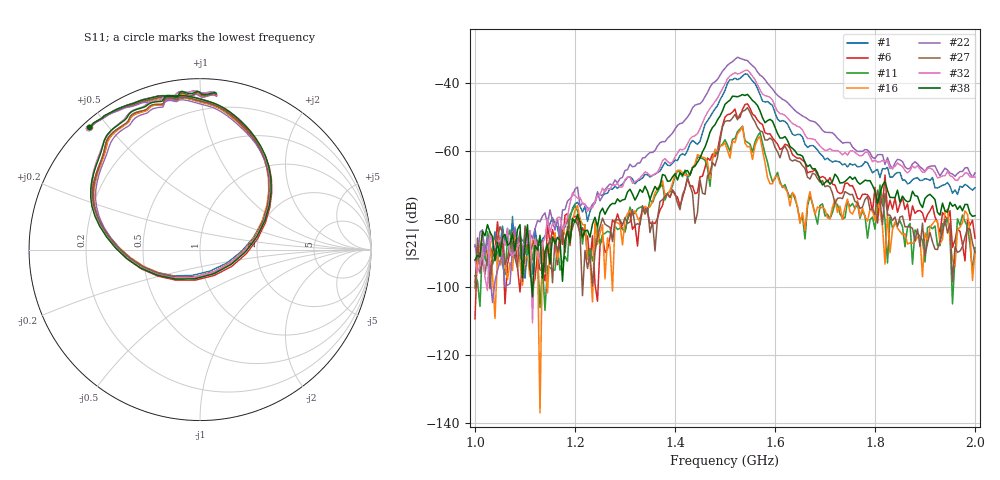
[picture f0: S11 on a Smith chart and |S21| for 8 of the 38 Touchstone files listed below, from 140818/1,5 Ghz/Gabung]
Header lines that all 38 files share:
# Hz S RI R 50
! CMT, C1220, 16058040, 17.2.0/1
! Data: Format (Calibration Info)
! Freq  S11: Re/Im (F2)  S21: Re/Im (F2)  S12: Re/Im (F2)  S22: Re/Im (F2)
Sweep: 1 GHz to 2 GHz
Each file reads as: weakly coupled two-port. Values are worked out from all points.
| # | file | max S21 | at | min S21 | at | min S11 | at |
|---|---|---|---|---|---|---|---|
| 1 | Sudut_280_Titik_8.s2p | -37.32 dB | 1.54 GHz | -97.5 dB | 1.1 GHz | -17.1 dB | 1.53 GHz |
| 2 | Sudut_280_Titik_9.s2p | -34.63 dB | 1.54 GHz | -104.0 dB | 1.06 GHz | -16.7 dB | 1.53 GHz |
| 3 | Sudut_290_Titik_1.s2p | -32.69 dB | 1.525 GHz | -99.3 dB | 1.015 GHz | -16.0 dB | 1.53 GHz |
| 4 | Sudut_290_Titik_3.s2p | -42.45 dB | 1.525 GHz | -114.2 dB | 1.105 GHz | -15.8 dB | 1.53 GHz |
| 5 | Sudut_290_Titik_5.s2p | -52.42 dB | 1.535 GHz | -113.8 dB | 1.01 GHz | -15.7 dB | 1.53 GHz |
| 6 | Sudut_290_Titik_6.s2p | -46.11 dB | 1.545 GHz | -109.4 dB | 1 GHz | -15.2 dB | 1.53 GHz |
| 7 | Sudut_290_Titik_7.s2p | -42.74 dB | 1.545 GHz | -103.7 dB | 1.165 GHz | -15.8 dB | 1.53 GHz |
| 8 | Sudut_300_Titik_1.s2p | -32.76 dB | 1.525 GHz | -104.0 dB | 1.035 GHz | -16.1 dB | 1.53 GHz |
| 9 | Sudut_300_Titik_2.s2p | -36.99 dB | 1.525 GHz | -99.6 dB | 1.075 GHz | -16.6 dB | 1.53 GHz |
| 10 | Sudut_300_Titik_3.s2p | -42.15 dB | 1.52 GHz | -105.7 dB | 1 GHz | -15.7 dB | 1.53 GHz |
| 11 | Sudut_300_Titik_5.s2p | -52.74 dB | 1.535 GHz | -106.9 dB | 1.14 GHz | -15.9 dB | 1.53 GHz |
| 12 | Sudut_300_Titik_6.s2p | -46.41 dB | 1.545 GHz | -107.3 dB | 1.17 GHz | -15.3 dB | 1.53 GHz |
| 13 | Sudut_300_Titik_9.s2p | -34.29 dB | 1.54 GHz | -99.2 dB | 1.09 GHz | -16.6 dB | 1.53 GHz |
| 14 | Sudut_310_Titik_2.s2p | -36.91 dB | 1.525 GHz | -104.6 dB | 1 GHz | -16.4 dB | 1.53 GHz |
| 15 | Sudut_310_Titik_4.s2p | -47.92 dB | 1.505 GHz | -103.1 dB | 1.035 GHz | -15.8 dB | 1.53 GHz |
| 16 | Sudut_310_Titik_5.s2p | -52.74 dB | 1.535 GHz | -137.1 dB | 1.13 GHz | -16.3 dB | 1.53 GHz |
| 17 | Sudut_310_Titik_9.s2p | -34.25 dB | 1.54 GHz | -94.3 dB | 1 GHz | -16.5 dB | 1.53 GHz |
| 18 | Sudut_320_Titik_1.s2p | -32.64 dB | 1.525 GHz | -97.8 dB | 1.04 GHz | -16.2 dB | 1.53 GHz |
| 19 | Sudut_320_Titik_4.s2p | -47.91 dB | 1.505 GHz | -102.1 dB | 1.1 GHz | -16.0 dB | 1.53 GHz |
| 20 | Sudut_320_Titik_8.s2p | -36.54 dB | 1.54 GHz | -109.2 dB | 1.025 GHz | -16.8 dB | 1.53 GHz |
| 21 | Sudut_320_Titik_9.s2p | -33.95 dB | 1.54 GHz | -94.0 dB | 1.015 GHz | -16.6 dB | 1.53 GHz |
| 22 | Sudut_330_Titik_1.s2p | -32.41 dB | 1.525 GHz | -104.6 dB | 1.035 GHz | -16.1 dB | 1.53 GHz |
| 23 | Sudut_330_Titik_7.s2p | -43.24 dB | 1.535 GHz | -101.4 dB | 1.1 GHz | -15.5 dB | 1.53 GHz |
| 24 | Sudut_330_Titik_8.s2p | -36.41 dB | 1.54 GHz | -99.2 dB | 1.015 GHz | -16.7 dB | 1.53 GHz |
| 25 | Sudut_330_Titik_9.s2p | -33.70 dB | 1.52 GHz | -104.6 dB | 1.02 GHz | -16.6 dB | 1.53 GHz |
| 26 | Sudut_340_Titik_1.s2p | -32.09 dB | 1.525 GHz | -106.8 dB | 1.03 GHz | -16.1 dB | 1.53 GHz |
| 27 | Sudut_340_Titik_6.s2p | -47.22 dB | 1.545 GHz | -102.6 dB | 1.215 GHz | -16.2 dB | 1.53 GHz |
| 28 | Sudut_340_Titik_8.s2p | -36.08 dB | 1.54 GHz | -101.4 dB | 1.085 GHz | -16.5 dB | 1.53 GHz |
| 29 | Sudut_340_Titik_9.s2p | -33.45 dB | 1.52 GHz | -93.2 dB | 1 GHz | -16.7 dB | 1.53 GHz |
| 30 | Sudut_350_Titik_3.s2p | -41.38 dB | 1.52 GHz | -96.8 dB | 1.035 GHz | -15.5 dB | 1.53 GHz |
| 31 | Sudut_350_Titik_5.s2p | -51.84 dB | 1.535 GHz | -104.4 dB | 1.81 GHz | -17.5 dB | 1.53 GHz |
| 32 | Sudut_350_Titik_8.s2p | -36.19 dB | 1.545 GHz | -110.6 dB | 1.115 GHz | -16.4 dB | 1.53 GHz |
| 33 | Sudut_360_Titik_1.s2p | -31.45 dB | 1.525 GHz | -101.2 dB | 1 GHz | -16.1 dB | 1.53 GHz |
| 34 | Sudut_360_Titik_3.s2p | -41.10 dB | 1.52 GHz | -105.9 dB | 1.125 GHz | -15.6 dB | 1.53 GHz |
| 35 | Sudut_360_Titik_4.s2p | -48.41 dB | 1.505 GHz | -109.6 dB | 1.035 GHz | -16.5 dB | 1.53 GHz |
| 36 | Sudut_360_Titik_5.s2p | -53.35 dB | 1.535 GHz | -112.9 dB | 1.015 GHz | -17.6 dB | 1.53 GHz |
| 37 | Sudut_360_Titik_6.s2p | -47.04 dB | 1.545 GHz | -107.2 dB | 1.11 GHz | -16.8 dB | 1.53 GHz |
| 38 | Sudut_360_Titik_7.s2p | -43.33 dB | 1.545 GHz | -102.9 dB | 1.115 GHz | -15.7 dB | 1.53 GHz |
